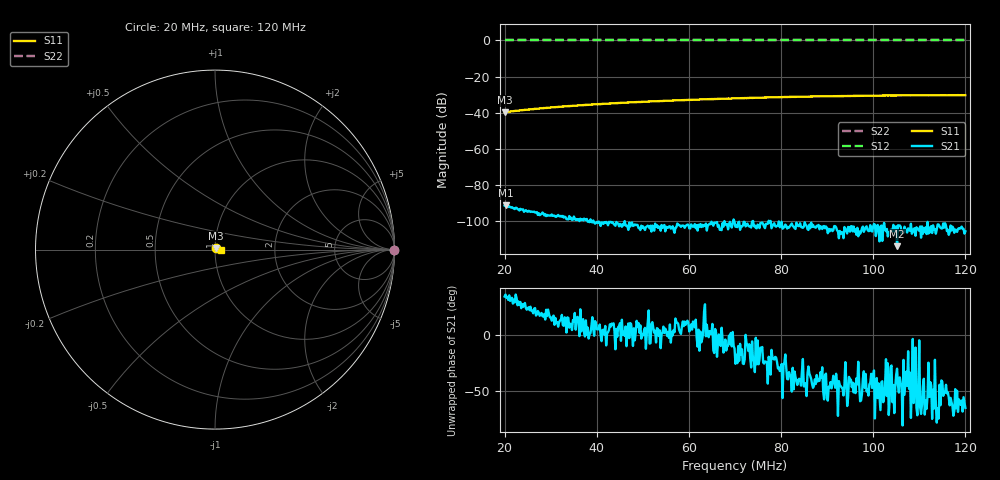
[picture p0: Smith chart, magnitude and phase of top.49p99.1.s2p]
! Anritsu VNA Master:  Model: MS2036C/10/77
! SN:  1601066
! /bd0/18may08.cable.cal/top.49p99.1.s2p
! Existing Calibration Information:
! TYPE:  Current Settings,  Active Cal Settings
! TIME:  05/08/2018 03:51:39 PM,  05/08/2018 03:47:05 PM
! INTERNAL TEMP:  50.5 C,  50.5 C
! # POINTS:  500,  500
! START FREQ:  20.000 MHz,  20.000 MHz
! STOP FREQ:  120.000 MHz,  120.000 MHz
! SOURCE POWER:  High,  High
! IFBW:  50 Hz,  50 Hz
! AVG FACTOR:  1 ,  1
! REF PLANE 1:  0 mm,  0 mm
! REF PLANE 2:  0 mm,  0 mm
! CAL TYPE:  Full S11,  Full S11
! CAL METHOD:  SOLT,  SOLT
! CAL LINE TYPE:  Coax,  Coax
! DUT PORT 1:  K-Conn(F),  K-Conn(F)
! DUT PORT 2:  K-Conn(F),  K-Conn(F)
! CAL STATUS:  OK: Accuracy High,  --
# GHZ S DB R 50.0
! FREQ.GHZ  S11DB  S11A  S21DB  S21A  S12DB  S12A  S22DB  S22A
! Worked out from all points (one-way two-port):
!   500 points, 20 MHz to 120 MHz, reference 50 ohm
!   highest |S21| = -91.08 dB at 20.2 MHz (marker M1); lowest = -113.7 dB at 105.2 MHz (marker M2)
!   lowest |S11| = -39.7 dB at 20 MHz (marker M3), VSWR 1.02, Z = 50.6 + j0.868 ohm
!   |S11| at or under -10 dB: start of sweep to end of sweep
!   |S22| runs from 0.0 to 0.0 dB; largest |S21 - S12| = 1
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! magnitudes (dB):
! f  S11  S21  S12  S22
! 20 MHz  -39.7  -91.3  0.0  0.0
! 20.2 MHz  -39.6  -91.1  0.0  0.0
! 22 MHz  -39.1  -93.0  0.0  0.0
! 24.01 MHz  -38.5  -93.4  0.0  0.0
! 28.22 MHz  -37.4  -95.1  0.0  0.0
! 32.83 MHz  -36.5  -97.9  0.0  0.0
! 33.83 MHz  -36.3  -98.9  0.0  0.0
! 36.83 MHz  -35.8  -98.9  0.0  0.0
! 44.25 MHz  -34.6  -100.3  0.0  0.0
! 48.66 MHz  -34.0  -101.9  0.0  0.0
! 49.86 MHz  -34.0  -103.6  0.0  0.0
! 51.06 MHz  -33.8  -102.4  0.0  0.0
! 53.47 MHz  -33.5  -102.9  0.0  0.0
! 59.08 MHz  -32.9  -103.6  0.0  0.0
! 70.1 MHz  -32.0  -103.0  0.0  0.0
! 80.52 MHz  -31.3  -103.5  0.0  0.0
! 86.73 MHz  -31.0  -103.1  0.0  0.0
! 96.75 MHz  -30.6  -108.3  0.0  0.0
! 103.4 MHz  -30.4  -106.1  0.0  0.0
! 105.2 MHz  -30.4  -113.7  0.0  0.0
! 116.8 MHz  -30.3  -102.3  0.0  0.0
! 120 MHz  -30.2  -105.5  0.0  0.0
